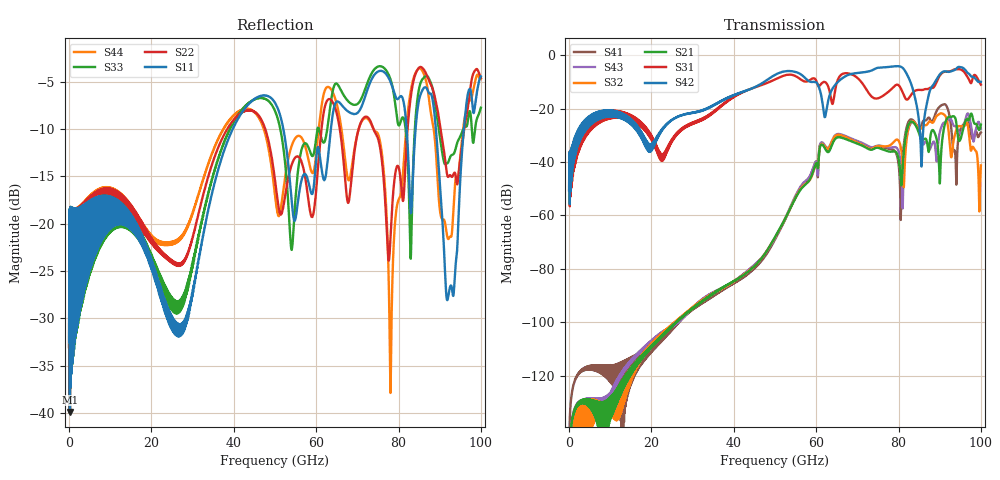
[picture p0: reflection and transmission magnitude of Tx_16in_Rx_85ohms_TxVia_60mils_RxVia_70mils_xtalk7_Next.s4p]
! Info: Touchstone file created by Circ.  Input file=Tx_16in_Rx_85ohms_TxVia_60mils_RxVia_70mils.circ
# Hz S RI R 50
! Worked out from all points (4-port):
!   10000 points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, 10 MHz to 100 GHz, reference 50 ohm
!   strongest paths, dB at 10 MHz, 25.01 GHz, 50.01 GHz, 75.01 GHz, 100 GHz:
!     S42: -50.6, -24.2, -7.4, -4.7, -10.0
!     S31: -50.6, -31.5, -9.1, -16.2, -11.1
!     S21: -167.4, -101.3, -68.1, -34.7, -26.0
!     S32: -170.6, -100.9, -68.3, -34.0, -41.3
!     S43: -154.7, -101.5, -68.5, -33.9, -27.5
!     S41: -150.5, -102.1, -69.0, -34.4, -29.0
!   lowest |S11| = -39.9 dB at 200 MHz (marker M1), VSWR 1.02, Z = 49.2 - j0.576 ohm
!   |S11| at or under -10 dB: start of sweep to 39.75 GHz; 52.03 GHz to 63.57 GHz (11.54 GHz wide, 20 % of centre); 89.07 GHz to 95.86 GHz (6.791 GHz wide, 7.34 % of centre) (the widest 3 of 4)
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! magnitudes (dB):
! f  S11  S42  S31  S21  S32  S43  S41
! 10 MHz  -32.5  -50.6  -50.6  -167.4  -170.6  -154.7  -150.5
! 200 MHz  -39.9  -44.6  -44.7  -145.6  -148.3  -145.2  -135.3
! 44.86 GHz  -6.9  -12.1  -12.2  -79.2  -79.1  -78.8  -80.1
! 65.19 GHz  -7.1  -10.2  -9.5  -30.8  -29.8  -29.5  -30.5
! 78.07 GHz  -5.0  -4.3  -13.0  -36.2  -33.6  -34.6  -35.2
! 85.57 GHz  -6.1  -41.6  -13.1  -31.8  -27.4  -31.1  -26.3
! 100 GHz  -4.4  -10.0  -11.1  -26.0  -41.3  -27.5  -29.0
